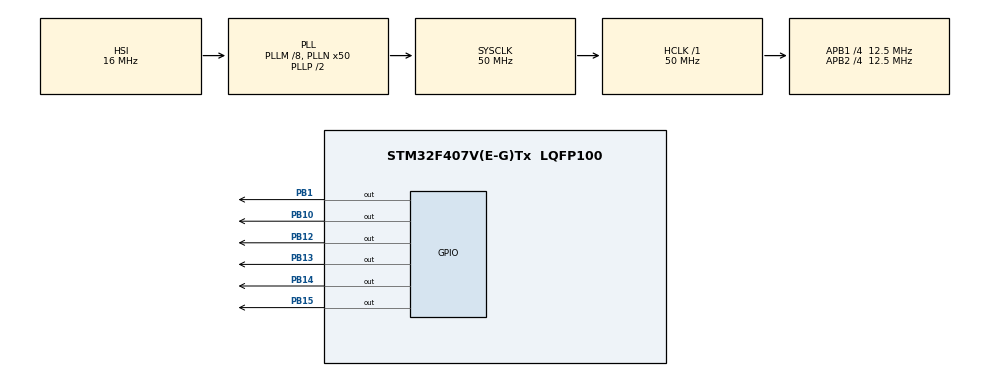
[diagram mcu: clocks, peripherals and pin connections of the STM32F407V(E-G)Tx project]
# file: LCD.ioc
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Mcu.Family=STM32F4
Mcu.Name=STM32F407V(E-G)Tx
Mcu.Package=LQFP100
NVIC.PriorityGroup=NVIC_PRIORITYGROUP_0
PA13.Mode=Serial_Wire
PA13.Signal=SYS_JTMS-SWDIO
PA14.Mode=Serial_Wire
PA14.Signal=SYS_JTCK-SWCLK
PB1.Signal=GPIO_Output
PB10.Signal=GPIO_Output
PB12.Signal=GPIO_Output
PB13.Signal=GPIO_Output
PB14.Signal=GPIO_Output
PB15.Signal=GPIO_Output
ProjectManager.HeapSize=0x200
ProjectManager.StackSize=0x400
ProjectManager.TargetToolchain=STM32CubeIDE
RCC.48MHZClocksFreq_Value=14285714.285714285
RCC.AHBFreq_Value=50000000
RCC.APB1CLKDivider=RCC_HCLK_DIV4
RCC.APB1Freq_Value=12500000
RCC.APB1TimFreq_Value=25000000
RCC.APB2CLKDivider=RCC_HCLK_DIV4
RCC.APB2Freq_Value=12500000
RCC.APB2TimFreq_Value=25000000
RCC.CortexFreq_Value=50000000
RCC.HCLKFreq_Value=50000000
RCC.HSE_VALUE=8000000
RCC.HSI_VALUE=16000000
RCC.LSE_VALUE=32768
RCC.PLLM=8
RCC.PLLN=50
RCC.PLLQ=7
RCC.SYSCLKFreq_VALUE=50000000
RCC.SYSCLKSource=RCC_SYSCLKSOURCE_PLLCLK
RCC.VCOOutputFreq_Value=100000000
board=STM32F407G-DISC1

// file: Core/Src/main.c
/* USER CODE BEGIN Header */
/**
  ******************************************************************************
  * @file           : main.c
  * @brief          : Main program body
  ******************************************************************************
  * @attention
  *
  * Copyright (c) 2024 STMicroelectronics.
  * All rights reserved.
  *
  * This software is licensed under terms that can be found in the LICENSE file
  * in the root directory of this software component.
  * If no LICENSE file comes with this software, it is provided AS-IS.
  *
  ******************************************************************************
  */
/* USER CODE END Header */
#include "main.h"

/* USER CODE BEGIN Includes */
#include "lcd.h"
/* USER CODE END Includes */

/* USER CODE BEGIN PV */
LCD_t lcd;
/* USER CODE END PV */

void SystemClock_Config(void);
static void MX_GPIO_Init(void);

int main(void)
{

  /* MCU Configuration--------------------------------------------------------*/

  /* Reset of all peripherals, Initializes the Flash interface and the Systick. */
  HAL_Init();

  /* Configure the system clock */
  SystemClock_Config();

  /* Initialize all configured peripherals */
  MX_GPIO_Init();
  /* USER CODE BEGIN 2 */
  // LCD SETTINGS ----------------------------------------------
  	lcd.RS_port = GPIOB;
  	lcd.RS_pin = GPIO_PIN_10;
  	//lcd.RW_port = LCD_RW_GPIO_Port;
  	//lcd.RW_pin = LCD_RW_Pin;
  	lcd.EN_port = GPIOB;
  	lcd.EN_pin = GPIO_PIN_1;
  	lcd.D4_port = GPIOB;
  	lcd.D4_pin = GPIO_PIN_15;
  	lcd.D5_port = GPIOB;
  	lcd.D5_pin = GPIO_PIN_14;
  	lcd.D6_port = GPIOB;
  	lcd.D6_pin = GPIO_PIN_13;
  	lcd.D7_port = GPIOB;
  	lcd.D7_pin = GPIO_PIN_12;

  	//inicializamos el LCD
  	lcd_begin(&lcd, 16, 2, LCD_5x8DOTS);

  	//escribimos un mensaje inicial
	lcd_noDisplay(&lcd);
	lcd_display(&lcd);
	lcd_clear(&lcd);
	lcd_home(&lcd);

  	lcd_setCursor(&lcd, 0, 0);
  	lcd_print(&lcd, "Hola Mundo! con");
  	lcd_setCursor(&lcd, 0, 1);
  	lcd_print(&lcd, "Edu Hector Pablo");
  	HAL_Delay(3000);
  	lcd_noDisplay(&lcd);
  	lcd_display(&lcd);
  	lcd_clear(&lcd);
  	lcd_home(&lcd);
  	lcd_print(&lcd, "STM32F407");
  	HAL_Delay(1000);
  	lcd_cursor(&lcd);
  	HAL_Delay(1000);
  	lcd_blink(&lcd);
  	HAL_Delay(3000);
  	lcd_noBlink(&lcd);
  	lcd_noCursor(&lcd);
  	HAL_Delay(100);
  	for (int i = 0; i < 10; ++i) {
  		lcd_scrollDisplayRight(&lcd);
  		HAL_Delay(300);
  	}
  	for (int i = 0; i < 10; ++i) {
  		lcd_scrollDisplayLeft(&lcd);
  		HAL_Delay(300);
  	}
	/************************poner en linea 214 - High = true*******************/
	  	//Mensaje de temperatura alta en LCD
  	    lcd_noDisplay(&lcd);
  	    lcd_display(&lcd);
  	    lcd_clear(&lcd);
  	    lcd_home(&lcd);

	  	lcd_setCursor(&lcd, 0, 0);
	  	lcd_print(&lcd, "Peligro !!!");
	  	lcd_setCursor(&lcd, 0, 1);
	  	lcd_print(&lcd, "Temperatura");
	  	HAL_Delay(1500);
	  	lcd_noDisplay(&lcd);
	  	lcd_display(&lcd);
	  	lcd_clear(&lcd);
	  	lcd_home(&lcd);
	  	lcd_print(&lcd, "Temp alta");
	  	HAL_Delay(1000);
	  	lcd_cursor(&lcd);
	  	HAL_Delay(1000);
	  	lcd_blink(&lcd);
	  	HAL_Delay(3000);
	  	lcd_noBlink(&lcd);
	  	lcd_noCursor(&lcd);
	  	HAL_Delay(100);
	  	for (int i = 0; i < 10; ++i) {
	  		lcd_scrollDisplayRight(&lcd);
	  		HAL_Delay(300);
	  	}
	  	for (int i = 0; i < 10; ++i) {
	  		lcd_scrollDisplayLeft(&lcd);
	  		HAL_Delay(300);
	  	}
	  	//Mensaje de temperatura baja en LCD
  	    lcd_noDisplay(&lcd);
  	    lcd_display(&lcd);
  	    lcd_clear(&lcd);
  	    lcd_home(&lcd);

	  	lcd_setCursor(&lcd, 0, 0);
	  	lcd_print(&lcd, "Peligro !!!");
	  	lcd_setCursor(&lcd, 0, 1);
	  	lcd_print(&lcd, "Temperatura");
	  	HAL_Delay(1500);
	  	lcd_noDisplay(&lcd);
	  	lcd_display(&lcd);
	  	lcd_clear(&lcd);
	  	lcd_home(&lcd);
	  	lcd_print(&lcd, "Temp baja");
	  	HAL_Delay(1000);
	  	lcd_cursor(&lcd);
	  	HAL_Delay(1000);
	  	lcd_blink(&lcd);
	  	HAL_Delay(3000);
	  	lcd_noBlink(&lcd);
	  	lcd_noCursor(&lcd);
	  	HAL_Delay(100);
	  	for (int i = 0; i < 10; ++i) {
	  		lcd_scrollDisplayRight(&lcd);
	  		HAL_Delay(300);
	  	}
	  	for (int i = 0; i < 10; ++i) {
	  		lcd_scrollDisplayLeft(&lcd);
	  		HAL_Delay(300);
	  	}
  /* USER CODE END 2 */

  /* Infinite loop */
  while (1)
  {

  }
}

void SystemClock_Config(void)
{
  RCC_OscInitTypeDef RCC_OscInitStruct = {0};
  RCC_ClkInitTypeDef RCC_ClkInitStruct = {0};

  /** Configure the main internal regulator output voltage
  */
  __HAL_RCC_PWR_CLK_ENABLE();
  __HAL_PWR_VOLTAGESCALING_CONFIG(PWR_REGULATOR_VOLTAGE_SCALE1);

  /** Initializes the RCC Oscillators according to the specified parameters
  * in the RCC_OscInitTypeDef structure.
  */
  RCC_OscInitStruct.OscillatorType = RCC_OSCILLATORTYPE_HSI;
  RCC_OscInitStruct.HSIState = RCC_HSI_ON;
  RCC_OscInitStruct.HSICalibrationValue = RCC_HSICALIBRATION_DEFAULT;
  RCC_OscInitStruct.PLL.PLLState = RCC_PLL_ON;
  RCC_OscInitStruct.PLL.PLLSource = RCC_PLLSOURCE_HSI;
  RCC_OscInitStruct.PLL.PLLM = 8;
  RCC_OscInitStruct.PLL.PLLN = 50;
  RCC_OscInitStruct.PLL.PLLP = RCC_PLLP_DIV2;
  RCC_OscInitStruct.PLL.PLLQ = 7;
  if (HAL_RCC_OscConfig(&RCC_OscInitStruct) != HAL_OK)
  {
    Error_Handler();
  }

  /** Initializes the CPU, AHB and APB buses clocks
  */
  RCC_ClkInitStruct.ClockType = RCC_CLOCKTYPE_HCLK|RCC_CLOCKTYPE_SYSCLK
                              |RCC_CLOCKTYPE_PCLK1|RCC_CLOCKTYPE_PCLK2;
  RCC_ClkInitStruct.SYSCLKSource = RCC_SYSCLKSOURCE_PLLCLK;
  RCC_ClkInitStruct.AHBCLKDivider = RCC_SYSCLK_DIV1;
  RCC_ClkInitStruct.APB1CLKDivider = RCC_HCLK_DIV4;
  RCC_ClkInitStruct.APB2CLKDivider = RCC_HCLK_DIV4;

  if (HAL_RCC_ClockConfig(&RCC_ClkInitStruct, FLASH_LATENCY_1) != HAL_OK)
  {
    Error_Handler();
  }
}

static void MX_GPIO_Init(void)
{
  GPIO_InitTypeDef GPIO_InitStruct = {0};

  /* GPIO Ports Clock Enable */
  __HAL_RCC_GPIOB_CLK_ENABLE();
  __HAL_RCC_GPIOA_CLK_ENABLE();

  /*Configure GPIO pin Output Level */
  HAL_GPIO_WritePin(GPIOB, GPIO_PIN_1|GPIO_PIN_10|GPIO_PIN_12|GPIO_PIN_13
                          |GPIO_PIN_14|GPIO_PIN_15, GPIO_PIN_RESET);

  /*Configure GPIO pins : PB1 PB10 PB12 PB13
                           PB14 PB15 */
  GPIO_InitStruct.Pin = GPIO_PIN_1|GPIO_PIN_10|GPIO_PIN_12|GPIO_PIN_13
                          |GPIO_PIN_14|GPIO_PIN_15;
  GPIO_InitStruct.Mode = GPIO_MODE_OUTPUT_PP;
  GPIO_InitStruct.Pull = GPIO_NOPULL;
  GPIO_InitStruct.Speed = GPIO_SPEED_FREQ_LOW;
  HAL_GPIO_Init(GPIOB, &GPIO_InitStruct);

}

void Error_Handler(void)
{
  __disable_irq();
  while (1)
  {
  }
}
